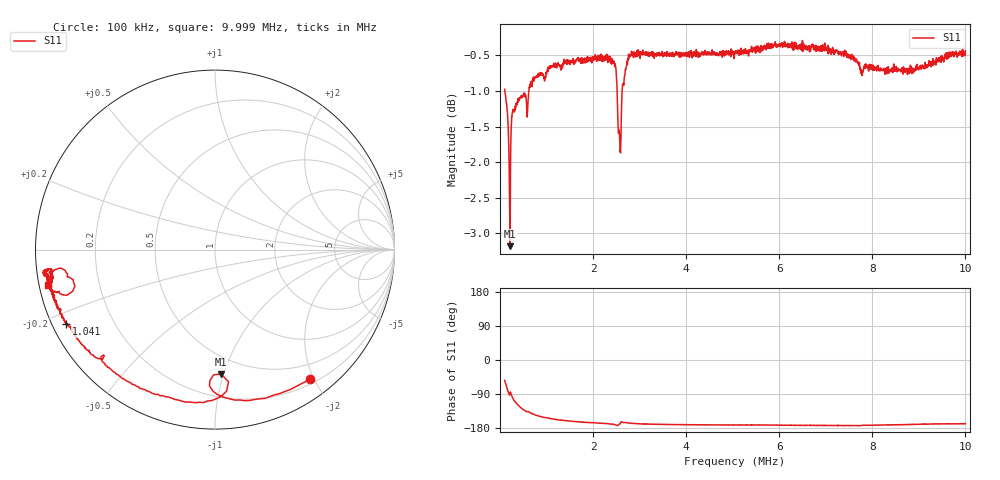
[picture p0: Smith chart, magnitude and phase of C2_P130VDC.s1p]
# HZ S RI R 50
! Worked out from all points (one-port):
!   2020 points, 100 kHz to 9.999 MHz, reference 50 ohm
!   lowest |S11| = -3.2 dB at 217.7 kHz (marker M1), VSWR 5.52, Z = 18.4 - j49 ohm
!   |S11| at or under -10 dB: nowhere
!   S11 on the Smith chart (normalised r, x): 100 kHz: 0.27, -1.94; 1.041 MHz: 0.04, -0.24; 9.999 MHz: 0.03, -0.10
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100000  0.5289 -0.7204
129418  0.3596 -0.8025
168642  0.1371 -0.8377
217672  0.0335 -0.6925
281411  -0.1815 -0.8452
354956  -0.3624 -0.7933
428501  -0.493 -0.7316
506949  -0.5824 -0.6653
551076  -0.6244 -0.6275
761905  -0.7474 -0.5204
913898  -0.7985 -0.4497
1041376  -0.8278 -0.4142
1340459  -0.8666 -0.3399
1678766  -0.8963 -0.2738
2428925  -0.9188 -0.1722
2473052  -0.9186 -0.1524
2526985  -0.8597 -0.1032
2576015  -0.8046 -0.1584
2644657  -0.8698 -0.2345
2811359  -0.9184 -0.2148
3056509  -0.9268 -0.1844
3816474  -0.9339 -0.1553
5052030  -0.9381 -0.1394
6287586  -0.95 -0.1263
7528045  -0.9338 -0.1153
7778098  -0.9065 -0.1167
8763601  -0.9096 -0.1532
9999157  -0.9313 -0.1945
